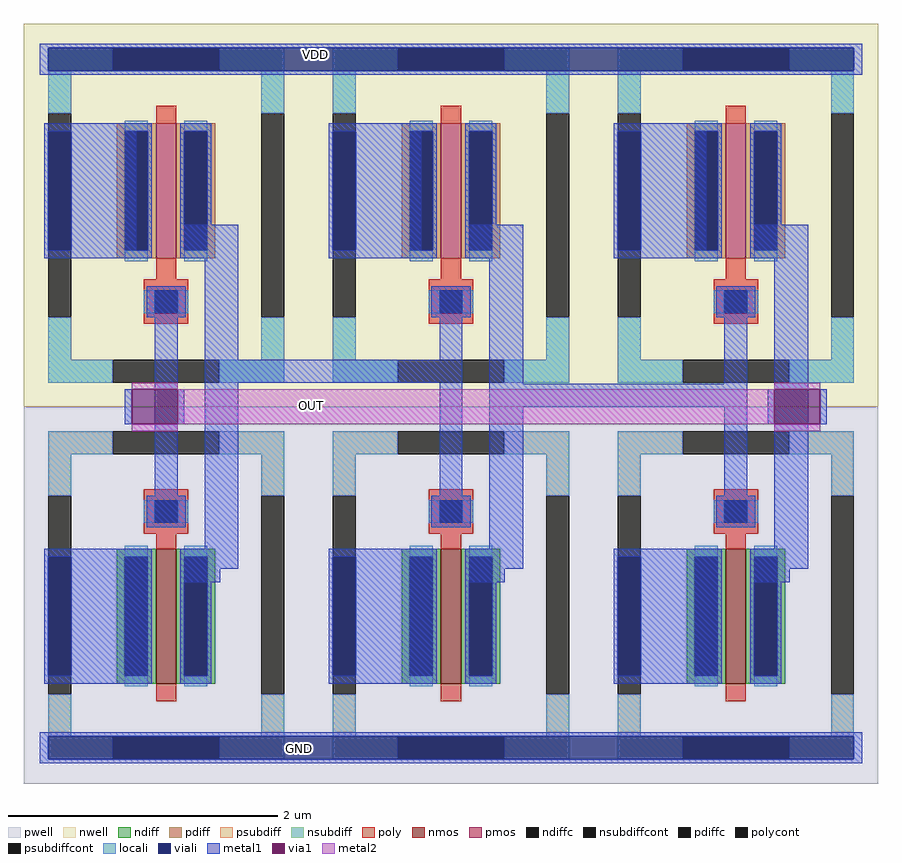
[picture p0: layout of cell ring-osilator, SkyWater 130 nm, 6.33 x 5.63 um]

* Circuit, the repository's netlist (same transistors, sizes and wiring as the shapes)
** sch_path: /home/riff/mbkm-polytron/inverter/layout/ring-osilator.sch
.subckt ring-osilator vdd out gnd
*.PININFO vdd:B gnd:B out:O
x1 vdd out net2 gnd inv
x2 vdd net2 net1 gnd inv
x3 vdd net1 out gnd inv
.ends

* expanding   symbol:  inv.sym # of pins=4
** sym_path: /home/riff/mbkm-polytron/inverter/layout/inv.sym
** sch_path: /home/riff/mbkm-polytron/inverter/layout/inv.sch
.subckt inv vdd in out gnd
*.PININFO in:I vdd:I gnd:I out:O
XM1 out in gnd gnd sky130_fd_pr__nfet_01v8 L=0.15 W=1 nf=1 m=1
XM2 out in vdd vdd sky130_fd_pr__pfet_01v8 L=0.15 W=1 nf=1 m=1
.ends

.end

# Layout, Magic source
magic
tech sky130A
<< viali >>
rect 18 528 615 545
rect 18 18 615 35
<< metal1 >>
rect 12 545 621 548
rect 12 528 18 545
rect 615 528 621 545
rect 12 525 621 528
rect 134 297 325 314
rect 75 266 80 292
rect 114 266 119 292
rect 345 279 536 296
rect 551 266 556 292
rect 590 266 595 292
rect 12 35 621 38
rect 12 18 18 35
rect 615 18 621 35
rect 12 15 621 18
<< via1 >>
rect 80 266 114 292
rect 556 266 590 292
<< metal2 >>
rect 80 292 114 297
rect 556 292 590 297
rect 114 266 556 292
rect 80 261 114 266
rect 556 261 590 266
use inv  x1
transform 1 0 -38 0 1 -44
box 38 44 249 607
use inv  x2
transform 1 0 173 0 1 -44
box 38 44 249 607
use inv  x3
transform 1 0 384 0 1 -44
box 38 44 249 607
<< labels >>
flabel viali 216 540 216 540 0 FreeSans 80 0 0 0 VDD
port 0 nsew
flabel viali 204 26 204 26 0 FreeSans 80 0 0 0 GND
port 1 nsew
flabel metal2 213 280 213 280 0 FreeSans 80 0 0 0 OUT
port 2 nsew
<< end >>

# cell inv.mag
magic
tech sky130A
magscale 1 2
<< viali >>
rect 112 878 146 1054
rect 112 248 146 424
<< metal1 >>
rect 106 1054 243 1066
rect 106 878 112 1054
rect 146 878 243 1054
rect 106 866 243 878
rect 314 866 394 916
rect 270 474 304 819
rect 344 436 394 866
rect 106 424 260 436
rect 106 248 112 424
rect 146 248 260 424
rect 308 406 394 436
rect 308 386 367 406
rect 106 236 260 248
use sky130_fd_pr__nfet_01v8_64Z3AY  XM1
transform 1 0 287 0 1 367
box -211 -279 211 279
use sky130_fd_pr__pfet_01v8_LGS3BL  XM2
transform 1 0 287 0 1 930
box -211 -284 211 284
<< labels >>
flabel metal1 157 966 157 966 0 FreeSans 160 0 0 0 VDD
port 0 nsew
flabel metal1 157 334 157 334 0 FreeSans 160 0 0 0 GND
port 1 nsew
flabel metal1 287 647 287 647 0 FreeSans 160 0 0 0 IN
port 2 nsew
flabel metal1 368 647 368 647 0 FreeSans 160 0 0 0 OUT
port 3 nsew
<< end >>

# cell sky130_fd_pr__nfet_01v8_64Z3AY: kit device sky130_fd_pr__nfet_01v8, w 1.0 l 0.15 m 1 nf 1 diffcov 100 polycov 100 guard 1 glc 1 grc 1 gtc 1 gbc 1 tbcov 100 rlcov 100 topc 1 botc 0 poverlap 0 doverlap 1 lmin 0.15 wmin 0.42 compatible {sky130_fd_pr__nfet_01v8 sky130_fd_pr__nfet_01v8_lvt sky130_fd_bs_flash__special_sonosfet_star sky130_fd_pr__nfet_g5v0d10v5 sky130_fd_pr__nfet_05v0_nvt sky130_fd_pr__nfet_03v3_nvt} full_metal 1 viasrc 100 viadrn 100 viagate 100 viagb 0 viagr 0 viagl 0 viagt 0

# cell sky130_fd_pr__pfet_01v8_LGS3BL: kit device sky130_fd_pr__pfet_01v8, w 1.0 l 0.15 m 1 nf 1 diffcov 100 polycov 100 guard 1 glc 1 grc 1 gtc 1 gbc 1 tbcov 100 rlcov 100 topc 0 botc 1 poverlap 0 doverlap 1 lmin 0.15 wmin 0.42 compatible {sky130_fd_pr__pfet_01v8 sky130_fd_pr__pfet_01v8_lvt sky130_fd_pr__pfet_01v8_hvt sky130_fd_pr__pfet_g5v0d10v5} full_metal 1 viasrc 100 viadrn 100 viagate 100 viagb 0 viagr 0 viagl 0 viagt 0
